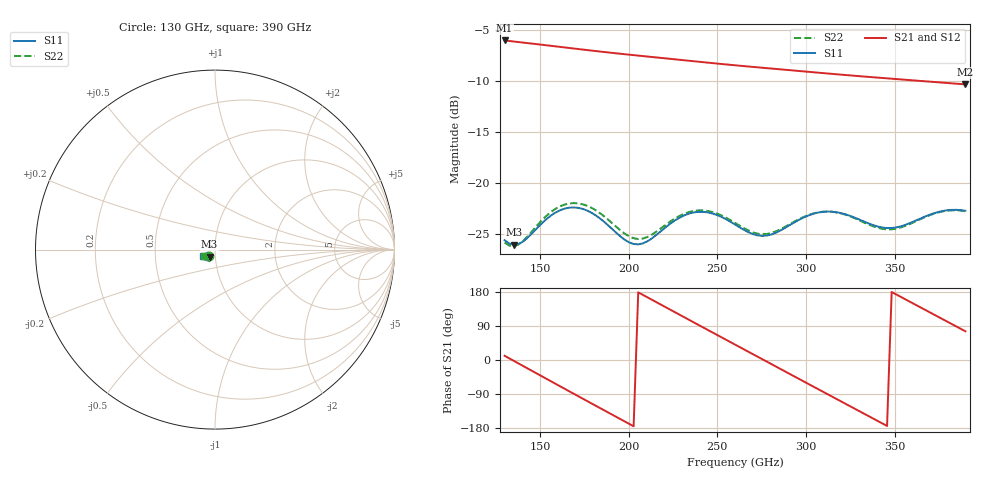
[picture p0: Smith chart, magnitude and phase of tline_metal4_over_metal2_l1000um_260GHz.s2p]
#  GHZ S DB R 50
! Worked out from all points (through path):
!   101 points, 130 GHz to 390 GHz, reference 50 ohm
!   highest |S21| = -6.07 dB at 130 GHz (marker M1); lowest = -10.4 dB at 390 GHz (marker M2)
!   group delay of S21, straight-line fit = 6.99 ps
!   lowest |S11| = -26.1 dB at 135.2 GHz (marker M3), VSWR 1.10, Z = 46.9 - j3.69 ohm
!   |S11| at or under -10 dB: start of sweep to end of sweep
!   |S22| runs from -26.2 to -22.0 dB; largest |S21 - S12| = 8.1e-14
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130  -25.63 -134.9  -6.07 11.1  -6.07 11.1  -25.87 -131.6
135.2  -26.09 -127.8  -6.17 -2.3  -6.17 -2.3  -26.22 -123.4
145.6  -24.94 -117.2  -6.38 -29.0  -6.38 -29.0  -24.74 -112.7
156  -23.24 -119.8  -6.59 -55.8  -6.59 -55.8  -22.89 -116.2
166.4  -22.45 -129.3  -6.80 -82.4  -6.80 -82.4  -22.04 -126.4
174.2  -22.57 -137.3  -6.96 -102.3  -6.96 -102.3  -22.12 -134.7
187.2  -23.99 -146.2  -7.22 -135.3  -7.22 -135.3  -23.44 -144.4
197.6  -25.57 -144.0  -7.41 -161.7  -7.41 -161.7  -24.97 -143.4
208  -25.95 -133.6  -7.60 172.0  -7.60 172.0  -25.47 -134.4
218.4  -24.72 -127.6  -7.78 145.6  -7.78 145.6  -24.44 -128.6
228.8  -23.42 -130.6  -7.96 119.3  -7.96 119.3  -23.24 -131.1
239.2  -22.86 -138.0  -8.15 93.1  -8.15 93.1  -22.72 -138.1
249.6  -23.15 -145.4  -8.33 66.9  -8.33 66.9  -23.01 -145.3
260  -24.09 -149.0  -8.50 40.7  -8.50 40.7  -23.93 -148.8
270.4  -25.05 -146.0  -8.66 14.6  -8.66 14.6  -24.88 -146.1
280.8  -25.05 -139.0  -8.82 -11.5  -8.82 -11.5  -24.91 -139.3
304.2  -23.04 -139.6  -9.18 -70.1  -9.18 -70.1  -23.01 -140.0
322.4  -23.10 -149.4  -9.45 -115.7  -9.45 -115.7  -23.14 -149.5
335.4  -23.99 -151.2  -9.64 -148.1  -9.64 -148.1  -24.10 -150.9
348.4  -24.44 -146.4  -9.81 179.5  -9.81 179.5  -24.56 -145.5
371.8  -23.02 -144.1  -10.13 121.1  -10.13 121.1  -23.07 -142.7
390  -22.75 -152.4  -10.37 75.8  -10.37 75.8  -22.80 -150.8
